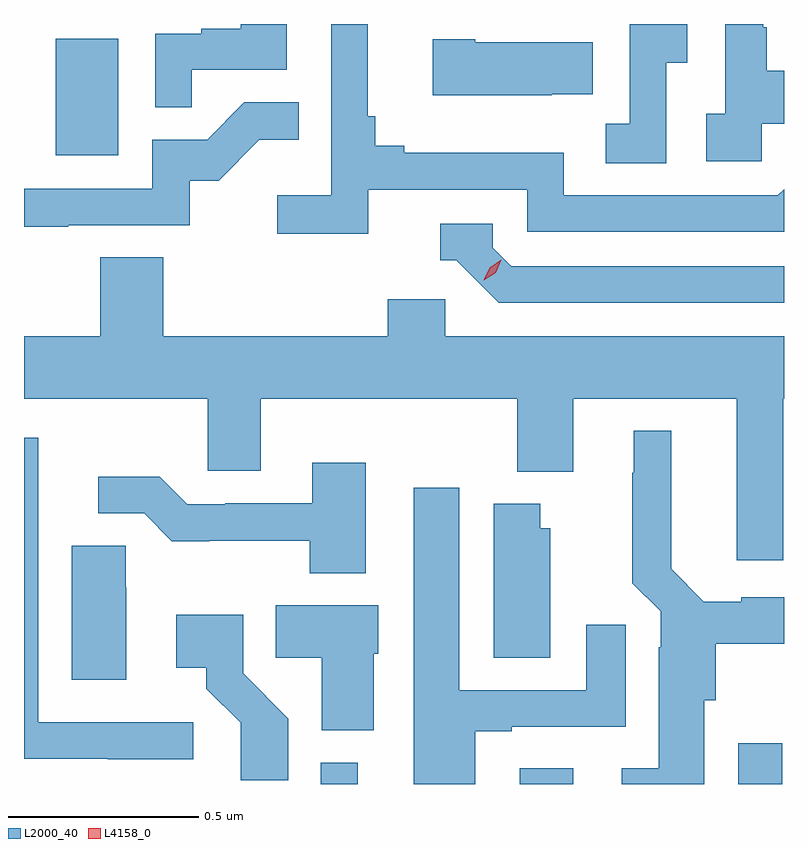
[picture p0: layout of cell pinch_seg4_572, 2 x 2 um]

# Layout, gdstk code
import gdstk
lib = gdstk.Library(unit=1e-6, precision=1e-09)
def R(c, l, rs):  # rectangles x0, y0, x1, y1
    for r in rs: c.add(gdstk.rectangle(r[:2], r[2:], *l))
def P(c, l, *ps):  # polygons
    for p in ps: c.add(gdstk.Polygon(p, *l))
L2000_40 = (2000, 40)
L4158_0 = (4158, 0)

pinch_seg4_572 = lib.new_cell('pinch_seg4_572')
R(pinch_seg4_572, L2000_40, [(1108.407,782.486,1108.504,782.542), (1108.931,782.486,1109.071,782.527), (1109.505,782.486,1109.621,782.593), (1107.71,784.14,1107.874,784.447)])
P(pinch_seg4_572, L2000_40, [(1109.568,784.223),(1109.626,784.223),(1109.626,784.363),(1109.581,784.363),(1109.581,784.478),(1109.571,784.478),(1109.571,784.486),(1109.472,784.486),(1109.472,784.25),(1109.421,784.25),(1109.421,784.125),(1109.568,784.125)],
  [(1108.067,784.365),(1108.318,784.365),(1108.318,784.486),(1108.196,784.486),(1108.196,784.474),(1108.093,784.474),(1108.093,784.461),(1107.972,784.461),(1107.972,784.267),(1108.067,784.267)],
  [(1109.316,784.384),(1109.371,784.384),(1109.371,784.486),(1109.22,784.486),(1109.22,784.223),(1109.157,784.223),(1109.157,784.12),(1109.316,784.12)],
  [(1108.532,784.05),(1108.95,784.05),(1108.95,783.939),(1109.626,783.939),(1109.626,784.051),(1109.61,784.035),(1109.046,784.035),(1109.046,784.147),(1108.627,784.147),(1108.627,784.166),(1108.55,784.166),(1108.55,784.243),(1108.531,784.243),(1108.531,784.486),(1108.434,784.486),(1108.434,784.036),(1108.293,784.036),(1108.293,783.934),(1108.532,783.934)],
  [(1109.015,784.301),(1109.123,784.301),(1109.123,784.438),(1108.813,784.438),(1108.813,784.446),(1108.701,784.446),(1108.701,784.298),(1109.015,784.298)],
  [(1107.743,783.957),(1108.062,783.957),(1108.062,784.074),(1108.138,784.074),(1108.245,784.181),(1108.349,784.181),(1108.349,784.28),(1108.206,784.28),(1108.108,784.182),(1107.963,784.182),(1107.963,784.053),(1107.626,784.053),(1107.626,783.952),(1107.743,783.952)],
  [(1109.626,783.849),(1108.908,783.849),(1108.86,783.897),(1108.86,783.96),(1108.721,783.96),(1108.721,783.864),(1108.764,783.864),(1108.875,783.753),(1109.626,783.753)],
  [(1109.624,783.5),(1109.626,783.5),(1109.626,783.664),(1108.734,783.664),(1108.734,783.762),(1108.583,783.762),(1108.583,783.664),(1107.992,783.664),(1107.992,783.872),(1107.827,783.872),(1107.827,783.664),(1107.626,783.664),(1107.626,783.5),(1108.11,783.5),(1108.11,783.31),(1108.249,783.31),(1108.249,783.5),(1108.924,783.5),(1108.924,783.308),(1109.071,783.308),(1109.071,783.5),(1109.501,783.5),(1109.501,783.075),(1109.624,783.075)],
  [(1109.416,782.706),(1109.447,782.706),(1109.447,782.855),(1109.626,782.855),(1109.626,782.977),(1109.514,782.977),(1109.514,782.965),(1109.415,782.965),(1109.329,783.052),(1109.329,783.415),(1109.231,783.415),(1109.231,783.305),(1109.227,783.305),(1109.227,783.014),(1109.301,782.94),(1109.301,782.846),(1109.297,782.846),(1109.297,782.527),(1109.199,782.527),(1109.199,782.486),(1109.416,782.486)],
  [(1108.072,782.649),(1107.663,782.649),(1107.663,783.174),(1107.664,783.174),(1107.664,783.397),(1107.626,783.397),(1107.626,782.553),(1107.847,782.553),(1107.847,782.551),(1108.072,782.551)],
  [(1108.525,783.331),(1108.385,783.331),(1108.385,783.225),(1108.156,783.225),(1108.156,783.222),(1108.056,783.222),(1107.983,783.295),(1107.822,783.295),(1107.822,783.198),(1107.942,783.198),(1108.015,783.125),(1108.114,783.125),(1108.114,783.126),(1108.378,783.126),(1108.378,783.041),(1108.525,783.041)],
  [(1108.813,782.625),(1108.909,782.625),(1108.909,782.637),(1109.209,782.637),(1109.209,782.905),(1109.105,782.905),(1109.105,782.733),(1108.771,782.733),(1108.771,783.265),(1108.652,783.265),(1108.652,782.486),(1108.813,782.486)],
  [(1109.011,783.159),(1108.984,783.159),(1108.984,783.223),(1108.862,783.223),(1108.862,782.818),(1109.011,782.818)],
  [(1107.895,783.002),(1107.894,783.002),(1107.894,783.113),(1107.752,783.113),(1107.752,782.76),(1107.895,782.76)],
  [(1108.546,782.829),(1108.558,782.829),(1108.558,782.956),(1108.288,782.956),(1108.288,782.818),(1108.409,782.818),(1108.409,782.627),(1108.546,782.627)],
  [(1108.322,782.658),(1108.203,782.777),(1108.203,782.932),(1108.026,782.932),(1108.026,782.792),(1108.106,782.792),(1108.106,782.737),(1108.197,782.647),(1108.197,782.496),(1108.322,782.496)])
P(pinch_seg4_572, L4158_0, [(1108.836,783.812),(1108.836,783.812),(1108.852,783.845),(1108.882,783.865),(1108.882,783.865),(1108.882,783.865),(1108.867,783.832),(1108.836,783.812)])

lib.write_gds('pinch_seg4_572.gds')
